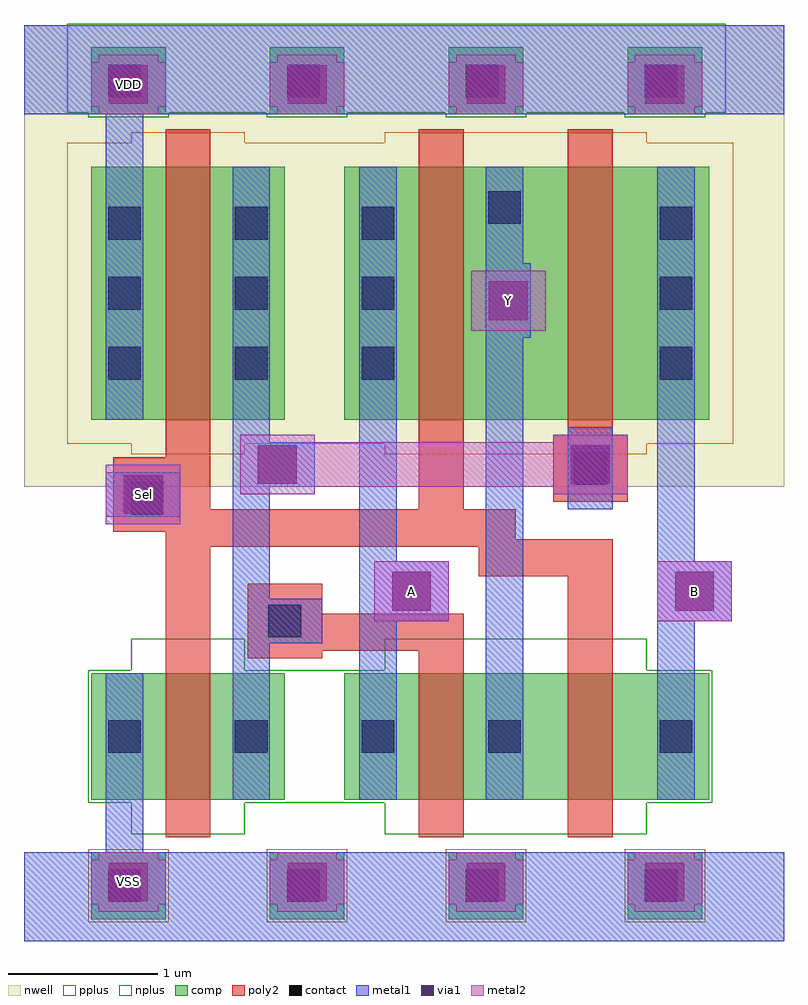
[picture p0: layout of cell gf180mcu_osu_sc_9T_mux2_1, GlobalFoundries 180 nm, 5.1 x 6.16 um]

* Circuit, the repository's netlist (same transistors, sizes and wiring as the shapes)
* Copyright 2022 Google LLC
*
* Licensed under the Apache License, Version 2.0 (the "License");
* you may not use this file except in compliance with the License.
* You may obtain a copy of the License at
*
*      http://www.apache.org/licenses/LICENSE-2.0
*
* Unless required by applicable law or agreed to in writing, software
* distributed under the License is distributed on an "AS IS" BASIS,
* WITHOUT WARRANTIES OR CONDITIONS OF ANY KIND, either express or implied.
* See the License for the specific language governing permissions and
* limitations under the License.

.option scale=0.05u

.subckt gf180mcu_osu_sc_9T_mux2_1 Y Sel A B
X0 Y a_25_19 A VSS nmos_3p3 w=17 l=6
X1 a_25_19 Sel VSS VSS nmos_3p3 w=17 l=6
X2 Y Sel A VDD pmos_3p3 w=34 l=6
X3 a_25_19 Sel VDD VDD pmos_3p3 w=34 l=6
X4 B Sel Y VSS nmos_3p3 w=17 l=6
X5 B a_25_19 Y VDD pmos_3p3 w=34 l=6
.ends

** hspice subcircuit dictionary

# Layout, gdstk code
import gdstk
lib = gdstk.Library(unit=1e-6, precision=1e-09)
def R(c, l, rs):  # rectangles x0, y0, x1, y1
    for r in rs: c.add(gdstk.rectangle(r[:2], r[2:], *l))
def A(c, l, x, y, w, h, nx, ny, dx, dy):  # array of equal rectangles
    R(c, l, [(x+i*dx, y+j*dy, x+i*dx+w, y+j*dy+h) for i in range(nx) for j in range(ny)])
nwell = (21, 0)
comp = (22, 0)
poly2 = (30, 0)
pplus = (31, 0)
nplus = (32, 0)
contact = (33, 0)
metal1 = (34, 0)
via1 = (35, 0)
metal2 = (36, 0)

gf180mcu_osu_sc_9t_mux2_ = lib.new_cell('gf180mcu_osu_sc_9T_mux2_1')
R(gf180mcu_osu_sc_9t_mux2_, nwell, [(0,3.05,5.1,6.15)])
A(gf180mcu_osu_sc_9t_mux2_, comp, 0.45, 0.15, 0.5, 0.45, 4, 2, 1.2, 5.4)
R(gf180mcu_osu_sc_9t_mux2_, comp, [(0.45,0.95,1.75,1.8), (2.15,0.95,4.6,1.8), (0.45,3.5,1.75,5.2), (2.15,3.5,4.6,5.2)])
R(gf180mcu_osu_sc_9t_mux2_, poly2, [(0.95,0.7,1.25,2.65), (2.65,0.7,2.95,1.95), (3.65,0.7,3.95,2.45), (1.5,1.9,2,1.95), (1.5,1.95,2.95,2.2), (1.5,2.2,2,2.4), (3.05,2.45,3.95,2.65), (0.95,2.65,3.95,2.7), (0.95,2.7,3.3,2.75), (0.6,2.75,3.3,2.9), (0.6,2.9,1.25,3.25), (2.65,2.9,2.95,5.45), (3.55,2.95,4.05,3.4), (0.95,3.25,1.25,5.45), (3.65,3.4,3.95,5.45)])
A(gf180mcu_osu_sc_9t_mux2_, pplus, 0.43, 0.13, 0.54, 0.49, 4, 1, 1.2, 0)
R(gf180mcu_osu_sc_9t_mux2_, pplus, [(0.72,3.27,1.48,3.34), (2.42,3.27,4.18,3.34), (0.29,3.34,4.76,5.36), (0.72,5.36,1.48,5.43), (2.42,5.36,4.18,5.43)])
A(gf180mcu_osu_sc_9t_mux2_, nplus, 0.43, 5.53, 0.54, 0.03, 4, 1, 1.2, 0)
R(gf180mcu_osu_sc_9t_mux2_, nplus, [(0.72,0.72,1.48,0.93), (2.42,0.72,4.18,0.93), (0.43,0.93,4.62,1.82), (0.72,1.82,1.48,2.03), (2.42,1.82,4.18,2.03), (0.29,5.56,4.71,6.16)])
A(gf180mcu_osu_sc_9t_mux2_, contact, 0.565, 0.265, 0.22, 0.22, 4, 2, 1.2, 5.4)
A(gf180mcu_osu_sc_9t_mux2_, contact, 0.565, 1.265, 0.22, 0.22, 4, 1, 0.85, 0)
A(gf180mcu_osu_sc_9t_mux2_, contact, 0.565, 3.77, 0.22, 0.22, 3, 3, 0.85, 0.47)
A(gf180mcu_osu_sc_9t_mux2_, contact, 4.265, 3.77, 0.22, 0.22, 1, 3, 0, 0.47)
R(gf180mcu_osu_sc_9t_mux2_, contact, [(4.265,1.265,4.485,1.485), (1.64,2.04,1.86,2.26), (0.715,2.865,0.935,3.085), (3.69,3.065,3.91,3.285), (3.115,4.815,3.335,5.035)])
R(gf180mcu_osu_sc_9t_mux2_, metal1, [(0,0,5.1,0.6), (0.55,0.6,0.8,1.8), (1.4,0.95,1.65,2), (2.25,0.95,2.5,2.15), (3.1,0.95,3.35,4.05), (4.25,0.95,4.5,2.15), (1.4,2,2,2.3), (2.25,2.15,2.85,2.55), (4.25,2.15,4.75,2.55), (1.4,2.3,1.65,3.05), (2.25,2.55,2.5,5.2), (4.25,2.55,4.5,5.2), (0.55,2.85,1.05,3.15), (3.65,2.9,3.95,3.45), (1.4,3.05,1.95,3.35), (1.4,3.35,1.65,5.2), (0.55,3.5,0.8,5.55), (3.1,4.05,3.4,4.55), (3.1,4.55,3.35,5.2), (0,5.55,5.1,6.15)])
A(gf180mcu_osu_sc_9t_mux2_, via1, 0.57, 0.27, 0.26, 0.26, 4, 2, 1.2, 5.35)
R(gf180mcu_osu_sc_9t_mux2_, via1, [(2.47,2.22,2.73,2.48), (4.37,2.22,4.63,2.48), (0.67,2.87,0.93,3.13), (1.57,3.07,1.83,3.33), (3.67,3.07,3.93,3.33), (3.12,4.17,3.38,4.43)])
A(gf180mcu_osu_sc_9t_mux2_, metal2, 0.5, 0.2, 0.4, 0.05, 4, 2, 1.2, 0.35)
A(gf180mcu_osu_sc_9t_mux2_, metal2, 0.45, 0.25, 0.5, 0.3, 4, 2, 1.2, 5.35)
A(gf180mcu_osu_sc_9t_mux2_, metal2, 0.5, 5.55, 0.4, 0.05, 4, 2, 1.2, 0.35)
R(gf180mcu_osu_sc_9t_mux2_, metal2, [(2.35,2.15,2.85,2.55), (4.25,2.15,4.75,2.55), (0.55,2.8,1.05,3.2), (1.45,3,1.95,3.05), (3.55,3,4.05,3.05), (1.45,3.05,4.05,3.35), (1.45,3.35,1.95,3.4), (3.55,3.35,4.05,3.4), (3,4.1,3.5,4.5)])
gf180mcu_osu_sc_9t_mux2_.add(gdstk.Label('VDD', (0.7,5.75), layer=36, texttype=0))
gf180mcu_osu_sc_9t_mux2_.add(gdstk.Label('VSS', (0.7,0.4), layer=36, texttype=0))
gf180mcu_osu_sc_9t_mux2_.add(gdstk.Label('Y', (3.25,4.3), layer=36, texttype=10))
gf180mcu_osu_sc_9t_mux2_.add(gdstk.Label('Sel', (0.8,3), layer=36, texttype=10))
gf180mcu_osu_sc_9t_mux2_.add(gdstk.Label('A', (2.6,2.35), layer=36, texttype=10))
gf180mcu_osu_sc_9t_mux2_.add(gdstk.Label('B', (4.5,2.35), layer=36, texttype=10))

lib.write_gds('gf180mcu_osu_sc_9T_mux2_1.gds')
